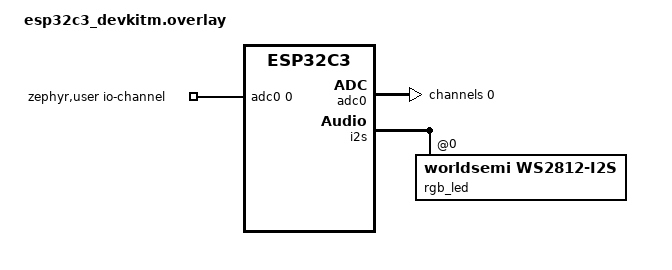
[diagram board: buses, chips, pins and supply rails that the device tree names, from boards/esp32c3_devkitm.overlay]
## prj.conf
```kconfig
CONFIG_ADC=y
CONFIG_LED_STRIP=y
```

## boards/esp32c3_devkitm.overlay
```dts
#include <zephyr/dt-bindings/led/led.h>

/ {
    zephyr,user {
        io-channels = <&adc0 0>; 
    };
};

&adc0 {
    status = "okay";
    #address-cells = <1>;
    #size-cells = <0>;

    channel@0 {
        reg = <0>;
        
        /*
           ESP32C3:
           ADC_GAIN_1   = 0 dB (0..750 mV)
           ADC_GAIN_4_5 = 2.5 dB (0..1050 mV)
           ADC_GAIN_1_2 = 6 dB (0..1300 mV)
           ADC_GAIN_1_4 = 11 dB (0..2500 mV) 
        */
        
        zephyr,gain = "ADC_GAIN_1_4"; 
        zephyr,reference = "ADC_REF_INTERNAL";
        zephyr,acquisition-time = <ADC_ACQ_TIME_DEFAULT>;
        zephyr,resolution = <12>;
    };
};

&i2s_default {
	group1 {
		pinmux = <I2S_O_SD_GPIO8>;
	};
};

i2s_led: &i2s {
	status = "okay";

	dmas = <&dma 3>;
	dma-names = "tx";

	rgb_led: ws2812@0 {
		compatible = "worldsemi,ws2812-i2s";

		reg = <0>;
		chain-length = <1>;
		color-mapping = <LED_COLOR_ID_GREEN
		        		 LED_COLOR_ID_RED
				         LED_COLOR_ID_BLUE>;
		reset-delay = <500>;
	};
};

&dma {
	status = "okay";
};
```

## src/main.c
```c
#include <math.h>
#include <zephyr/kernel.h>
#include <zephyr/drivers/adc.h>
#include <zephyr/drivers/led_strip.h>

#define RGB_LED_NODE DT_NODELABEL(rgb_led)

static const struct device *rgb_led_dev = DEVICE_DT_GET(RGB_LED_NODE);
static const struct adc_dt_spec adc_spec = ADC_DT_SPEC_GET(DT_PATH(zephyr_user));

void hsl_to_rgb(float h, float s, float l, struct led_rgb *rgb);

int main(void) {

    // configure led strip
    struct led_rgb rgb_led_cfg;

    float hue = 0.0f;
    float saturation = 0.99f;
    float lightness = 0.50f;

    uint32_t adc_data;
    uint32_t adc_mask = (1 << adc_spec.resolution) - 1;

    // create sampling sequence and init buffer
    struct adc_sequence sequence = {
		.buffer = &adc_data,
		.buffer_size = sizeof(adc_data),
	};

    adc_sequence_init_dt(&adc_spec, &sequence);
    adc_channel_setup_dt(&adc_spec);

    while(true) {

        // read adc data
        adc_read_dt(&adc_spec, &sequence);
        adc_data &= adc_mask;
        
        // convert raw data to hue 0..360
        hue = (adc_data * 360.0) / (1 << adc_spec.resolution);

        // convert hue to rgb
        hsl_to_rgb(hue, saturation, lightness, &rgb_led_cfg);
        
        // drive led strip
        led_strip_update_rgb(rgb_led_dev, &rgb_led_cfg, 1);
    }

	return 0;
}

// HSL to RGB converter
void hsl_to_rgb(float h, float s, float l, struct led_rgb *rgb) {
    float c = (1.0f - fabsf(2.0f * l - 1.0f)) * s;
    float x = c * (1.0f - fabsf(fmodf(h / 60.0f, 2.0f) - 1.0f));
    float m = l - c / 2.0f;
    float rt, gt, bt;

    if (h < 60)      { rt = c; gt = x; bt = 0; }
    else if (h < 120) { rt = x; gt = c; bt = 0; }
    else if (h < 180) { rt = 0; gt = c; bt = x; }
    else if (h < 240) { rt = 0; gt = x; bt = c; }
    else if (h < 300) { rt = x; gt = 0; bt = c; }
    else             { rt = c; gt = 0; bt = x; }

    rgb->r = (uint8_t)((rt + m) * 255);
    rgb->g = (uint8_t)((gt + m) * 255);
    rgb->b = (uint8_t)((bt + m) * 255);
}
```
